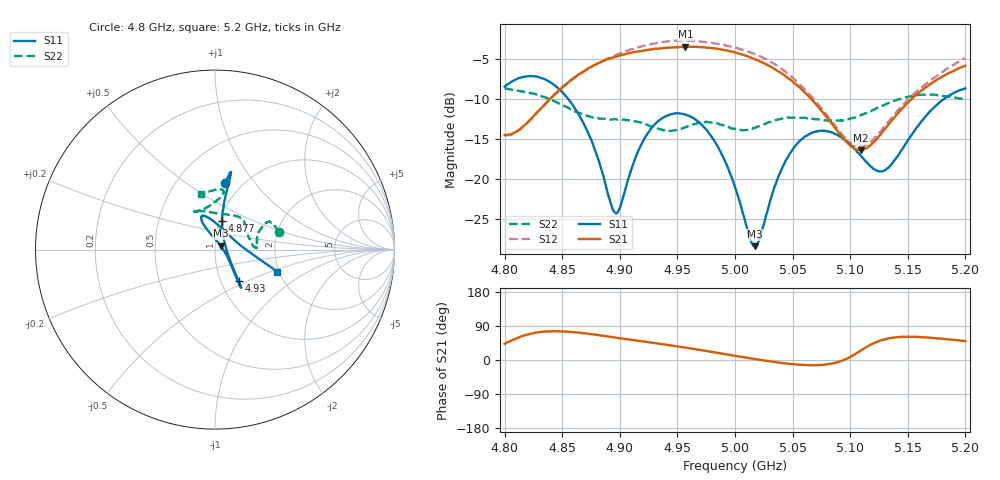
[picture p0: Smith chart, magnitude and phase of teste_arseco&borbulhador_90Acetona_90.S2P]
! Network Analyzer HP8722D
! Hewlett-Packard
! Data name: Linha & Wilkinson
! Saver's name: Rodrigo Anjos
! Comments: Teste da utilização de aquisição
! continua pelo VNA HP8722D
! Time and date: 17/4/2025 11:48
!  Frequency  S11  S21  S12  S22
# HZ  S  MA R 50
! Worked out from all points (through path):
!   401 points, 4.8 GHz to 5.2 GHz, reference 50 ohm
!   highest |S21| = -3.46 dB at 4.957 GHz (marker M1); lowest = -16.4 dB at 5.109 GHz (marker M2)
!   lowest |S11| = -28.3 dB at 5.017 GHz (marker M3), VSWR 1.08, Z = 53.2 + j2.34 ohm
!   |S11| at or under -10 dB: 4.855 GHz to 5.181 GHz (326 MHz wide, 6.5 % of centre)
!   |S22| runs from -14.0 to -8.7 dB; largest |S21 - S12| = 0.24
!   S11 on the Smith chart (normalised r, x): 4.8 GHz: 0.83, +0.72; 4.877 GHz: 1.03, +0.33; 4.93 GHz: 1.21, -0.45; 5.2 GHz: 1.96, -0.56
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4.8e9  0.3779 81.5  0.1892 43.0  0.1887 3.6  0.3672 15.4
4.835e9  0.4202 78.1  0.2949 75.0  0.2926 38.9  0.3251 27.7
4.867e9  0.2338 78.9  0.464 71.1  0.4611 41.4  0.2554 20.2
4.877e9  0.1629 75.8  0.5118 67.6  0.5106 40.3  0.2421 15.6
4.892e9  0.07109 44.3  0.5679 61.2  0.5775 38.1  0.2355 8.8
4.897e9  0.0611 13.4  0.5817 58.8  0.5984 37.1  0.2372 6.3
4.916e9  0.1501 -46.4  0.6271 50.5  0.6644 33.0  0.2282 2.6
4.93e9  0.2188 -53.2  0.6512 44.6  0.7015 28.8  0.2087 7.8
4.934e9  0.2324 -54.4  0.6541 42.8  0.7148 27.6  0.2061 10.5
4.957e9  0.2529 -55.5  0.6717 32.9  0.7338 18.9  0.2121 34.7
4.98e9  0.1828 -51.5  0.659 21.5  0.7094 10.0  0.2259 52.7
5e9  0.08953 -34.5  0.6179 10.9  0.6642 2.8  0.2056 73.9
5.017e9  0.03824 35.1  0.5624 2.8  0.6044 -3.5  0.2093 96.4
5.021e9  0.0416 63.0  0.5466 0.9  0.588 -4.9  0.2142 100.9
5.042e9  0.1219 111.8  0.4495 -8.4  0.4793 -11.9  0.2388 115.9
5.067e9  0.195 113.2  0.3126 -13.8  0.3243 -13.6  0.2384 118.1
5.087e9  0.1918 105.4  0.2085 -7.5  0.2152 -3.4  0.2315 110.3
5.109e9  0.1408 84.4  0.152 24.6  0.1592 31.9  0.2501 95.2
5.124e9  0.1127 52.7  0.1822 49.1  0.1906 58.0  0.2798 86.7
5.134e9  0.1201 26.5  0.2229 57.4  0.2326 67.6  0.3003 83.1
5.171e9  0.2731 -13.9  0.3996 58.4  0.4202 76.4  0.3368 86.3
5.2e9  0.3692 -19.5  0.5119 49.8  0.5696 73.6  0.3165 104.1
